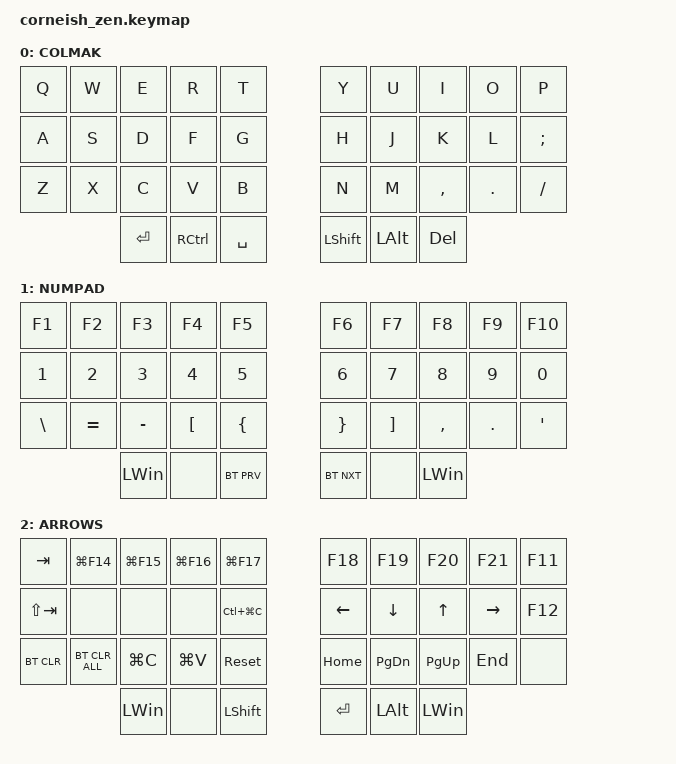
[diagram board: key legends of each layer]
#include <behaviors.dtsi>
#include <dt-bindings/zmk/bt.h>
#include <dt-bindings/zmk/keys.h>

// LAYERS

#define COL 0
#define NAV 1
#define NUM 2

// MACROS

#define U_UNDO  LG(Z)
#define U_CUT   LG(X)
#define U_COPY  LG(C)
#define U_PSTE  LG(V)
#define U_REDO  LS(LG(Z))
#define U_CLIP  LC(LG(C))
#define U_SHOT  LS(LG(N4))

// CONFIGURATION

#define COMBO(NAME, KEYPOS) \
  combo_##NAME { \
      timeout-ms = <40>; \
      key-positions = <KEYPOS>; \
      bindings = <&kp NAME>; \
  };

/ {
    chosen { zmk,matrix_transform = &five_column_transform; };
};

// KEYMAP

/ {
    combos {
        compatible = "zmk,combos";

        // Left-hand combos

        COMBO(AT_SIGN, 1 2)
      COMBO(LEFT_BRACE, 2 3)
      COMBO(EXCLAMATION, 1 11)
      COMBO(HASH, 2 12)
      COMBO(DOLLAR, 3 13)
      COMBO(GRAVE, 10 11)
      COMBO(COLON, 11 12)
      COMBO(LEFT_PARENTHESIS, 12 13)
      COMBO(PERCENT, 11 21)
      COMBO(CARET, 12 22)
      COMBO(AMPERSAND, 13 23)
      COMBO(TILDE, 20 21)
      COMBO(SEMICOLON, 21 22)
      COMBO(LEFT_BRACKET, 22 23)

        // Right-hand combos

        COMBO(RIGHT_BRACE, 6 7)
      COMBO(DOUBLE_QUOTES, 7 8)
      COMBO(EQUAL, 6 16)
      COMBO(PIPE, 7 17)
      COMBO(BACKSLASH, 8 18)
      COMBO(RIGHT_PARENTHESIS, 16 17)
      COMBO(MINUS, 17 18)
      COMBO(KP_PLUS, 18 19)
      COMBO(ASTERISK, 16 26)
      COMBO(LESS_THAN, 17 27)
      COMBO(GREATER_THAN, 18 28)
      COMBO(RIGHT_BRACKET, 26 27)
      COMBO(UNDERSCORE, 27 28)
      COMBO(QUESTION, 28 29)

        num_layer {
            bindings = <&sl 1>;
            key-positions = <31 34>;
        };

        backspace {
            bindings = <&kp BACKSPACE>;
            key-positions = <16 17>;
        };

        super-backspace {
            bindings = <&kp LC(BACKSPACE)>;
            key-positions = <16 17 18>;
        };

        escape {
            bindings = <&kp ESCAPE>;
            key-positions = <26 27>;
        };
    };

    keymap {
        compatible = "zmk,keymap";

        letters {
            label = "COLMAK";
            bindings = <
  &kp Q  &kp W  &kp E      &kp R      &kp T        &kp Y           &kp U         &kp I      &kp O    &kp P
  &kp A  &kp S  &kp D      &kp F      &kp G        &kp H           &kp J         &kp K      &kp L    &kp SEMICOLON
  &kp Z  &kp X  &kp C      &kp V      &kp B        &kp N           &kp M         &kp COMMA  &kp DOT  &kp FSLH
                &kp ENTER  &kp RCTRL  &kp SPACE    &kp LEFT_SHIFT  &kp LEFT_ALT  &kp DEL
            >;
        };

        num_layer {
            label = "NUMPAD";
            bindings = <
  &kp F1         &kp F2        &kp F3        &kp F4            &kp F5            &kp F6           &kp F7             &kp F8        &kp F9      &kp F10
  &kp NUMBER_1   &kp NUMBER_2  &kp NUMBER_3  &kp NUMBER_4      &kp N5            &kp NUMBER_6     &kp N7             &kp N8        &kp N9      &kp N0
  &kp BACKSLASH  &kp EQUAL     &kp MINUS     &kp LEFT_BRACKET  &kp LEFT_BRACE    &kp RIGHT_BRACE  &kp RIGHT_BRACKET  &kp COMMA     &kp PERIOD  &kp SQT
                               &kp LEFT_WIN  &none             &bt BT_PRV        &bt BT_NXT       &none              &kp LEFT_WIN
            >;
        };

        nav_layer {
            label = "ARROWS";
            bindings = <
  &kp TAB      &kp LG(F14)     &kp LG(F15)   &kp LG(F16)  &kp LG(F17)       &kp F18   &kp F19       &kp F20       &kp F21    &kp F11
  &kp LS(TAB)  &none           &none         &none        &kp U_CLIP        &kp LEFT  &kp DOWN      &kp UP_ARROW  &kp RIGHT  &kp F12
  &bt BT_CLR   &bt BT_CLR_ALL  &kp U_COPY    &kp U_PSTE   &sys_reset        &kp HOME  &kp PG_DN     &kp PG_UP     &kp END    &none
                               &kp LEFT_WIN  &none        &kp LEFT_SHIFT    &kp RET   &kp LEFT_ALT  &kp LEFT_WIN
            >;
        };
    };
};
